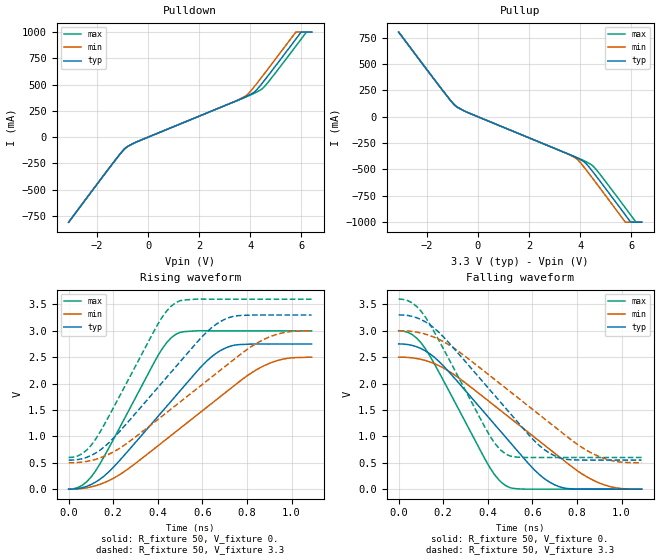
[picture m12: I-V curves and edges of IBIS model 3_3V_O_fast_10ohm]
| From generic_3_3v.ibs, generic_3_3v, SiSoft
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[Model] 3_3V_O_fast_10ohm
|SiSoft Include 3_3v.inc
Model_type Output
|SiSoft Include 3_3v.inc
C_comp 3.002p 2.502p 3.502p
|SiSoft Rth_r 10. 10. 10.
|SiSoft Rth_f 10. 10. 10.
Cref = 0
Vref = 1.65
Rref = 50
Vmeas = 1.65
|SiSoft spice_param TT Voh 3.3
|SiSoft spice_param SS Voh 3
|SiSoft spice_param FF Voh 3.6
|SiSoft spice_param ALL Vol 0
|SiSoft spice_param ALL R_SERIES 10
|SiSoft spice_param ALL RTERM_IN 1MEG
|SiSoft spice_param TT C_COMP 3pF
|SiSoft spice_param SS C_COMP 3.5pF
|SiSoft spice_param FF C_COMP 2.5pF
|SiSoft spice all testbed.mod tech_out_33
|SiSoft stimulus_rise_time 0.75n 1.0n 0.5n
[Temperature_Range] 25 100 0
[Voltage Range] 3.3 3. 3.6
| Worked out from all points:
|   slope of the pulldown table from 0 to 0.495 V, typ, clamps not added: 10 ohm
|   slope of the pullup table from 0 to 0.495 V, typ, clamps not added: 10 ohm
|   rising waveform, R_fixture 50, V_fixture 0.: 20-80 % time 339ps typ, 451ps min, 227ps max; typ from 0 V to 2.75 V
|   rising waveform, R_fixture 50, V_fixture 3.3: 20-80 % time 339ps typ, 451ps min, 227ps max; typ from 0.55 V to 3.3 V
|   falling waveform, R_fixture 50, V_fixture 0.: 20-80 % time 339ps typ, 451ps min, 227ps max; typ from 2.75 V to 0 V
|   falling waveform, R_fixture 50, V_fixture 3.3: 20-80 % time 339ps typ, 451ps min, 227ps max; typ from 3.3 V to 0.55 V
[Pulldown]
-3.105V   -809.1mA   -809.1mA   -809.1mA
-1.309V   -226.7mA   -226.7mA   -226.7mA
-866.7mV  -100mA     -100mA     -100mA
3.706V    370.9mA    377.3mA    370.7mA
3.889V    392.3mA    406mA      389mA
4.148V    427.8mA    478.7mA    417.3mA
4.408V    496.4mA    559.4mA    451.1mA
4.744V    600.9mA    666.3mA    537.4mA
5.782V    933.6mA    1A         866.8mA
5.993V    1A         1A         935mA
6.195V    1A         1A         999.7mA
6.396V    1A         1A         1A
[Pullup]
-3.096V   802.5mA    802.5mA    802.5mA
-1.386V   252.7mA    252.7mA    252.7mA
-858mV    99.58mA    99.59mA    99.58mA
3.619V    -361.9mA   -365mA     -361.9mA
3.926V    -395.9mA   -413.1mA   -392.7mA
4.176V    -431.9mA   -485.4mA   -419.6mA
4.407V    -494.2mA   -557.9mA   -450.1mA
4.772V    -608.6mA   -675mA     -544.1mA
5.771V    -932.1mA   -999.7mA   -864.4mA
5.982V    -999.9mA   -1A        -933.2mA
6.184V    -1A        -1A        -999mA
6.405V    -1A        -1A        -1A
[Ramp]
dV/dt_r 1.65/339p 1.5/451.209p 1.8/226.997p
dV/dt_f 1.65/338.938p 1.5/451.205p 1.8/227.015p
[Rising Waveform]
R_fixture = 50
V_fixture = 0.
0s        16.68uV    16.68uV    16.68uV
60ps      26.73mV    12.73mV    70.84mV
120ps     131.6mV    63.9mV     341.1mV
240ps     597.6mV    305.8mV    1.254V
400ps     1.375V     819.7mV    2.526V
480ps     1.766V     1.086V     2.933V
620ps     2.43V      1.553V     3.001V
720ps     2.702V     1.886V     3V
900ps     2.75V      2.383V     3V
1.09ns    2.75V      2.5V       3V
[Rising Waveform]
R_fixture = 50
V_fixture = 3.3
V_fixture_min = 3.
V_fixture_max = 3.6
0s        550mV      500mV      600mV
60ps      576.7mV    512.7mV    670.8mV
120ps     681.6mV    563.9mV    941.1mV
240ps     1.148V     805.8mV    1.854V
400ps     1.925V     1.32V      3.126V
480ps     2.316V     1.586V     3.533V
620ps     2.98V      2.053V     3.601V
720ps     3.252V     2.386V     3.6V
900ps     3.3V       2.883V     3.6V
1.09ns    3.3V       3V         3.6V
[Falling Waveform]
R_fixture = 50
V_fixture = 0.
0s        2.75V      2.5V       3V
60ps      2.723V     2.487V     2.929V
120ps     2.618V     2.436V     2.659V
240ps     2.152V     2.194V     1.746V
410ps     1.326V     1.647V     402.7mV
480ps     984mV      1.414V     67.21mV
630ps     281.4mV    914mV      -6.104uV
720ps     47.62mV    614mV      18.97uV
900ps     -23.08uV   116.9mV    16.66uV
1.09ns    16.72uV    533.8uV    16.68uV
[Falling Waveform]
R_fixture = 50
V_fixture = 3.3
V_fixture_min = 3.
V_fixture_max = 3.6
0s        3.3V       3V         3.6V
60ps      3.273V     2.987V     3.529V
120ps     3.168V     2.936V     3.259V
240ps     2.702V     2.694V     2.346V
410ps     1.876V     2.147V     1.003V
480ps     1.534V     1.914V     667.2mV
630ps     831.4mV    1.414V     600mV
720ps     597.6mV    1.114V     600mV
900ps     550mV      616.9mV    600mV
1.09ns    550mV      500.5mV    600mV
